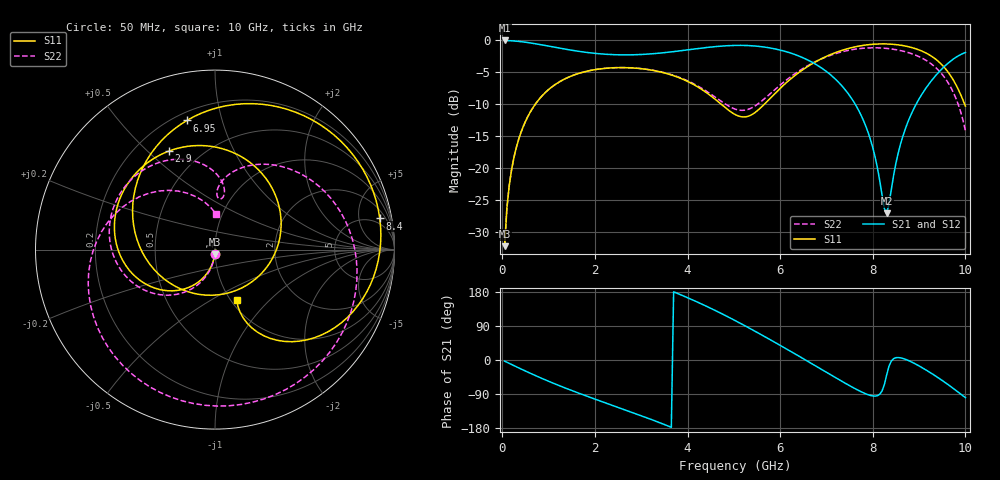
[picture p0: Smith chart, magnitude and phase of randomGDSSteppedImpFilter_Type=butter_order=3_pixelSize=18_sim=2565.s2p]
! freq	dB(S11)	phase(S11)	dB(S12)	phase(S12)
!  dB(S21)	phase(S21)	dB(S22)	phase(S22)
!S-par simulation data
#  GHz  S  DB  R 50
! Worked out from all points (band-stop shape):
!   200 points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, 50 MHz to 10 GHz, reference 50 ohm
!   highest |S21| = -0.01 dB at 50 MHz (marker M1); lowest = -27.0 dB at 8.3 GHz (marker M2)
!   |S21| within 3 dB of the highest: start of sweep to 6.581 GHz; 9.723 GHz to end of sweep
!   lowest |S11| = -32.2 dB at 50 MHz (marker M3), VSWR 1.05, Z = 49.8 - j2.45 ohm
!   |S11| at or under -10 dB: start of sweep to 710.4 MHz; 4.73 GHz to 5.655 GHz (924.8 MHz wide, 17.8 % of centre); 9.985513 GHz to end of sweep
!   |S22| runs from -32.2 to -1.2 dB; largest |S21 - S12| = 0
!   S11 on the Smith chart (normalised r, x): 50 MHz: 1.00, -0.05; 2.9 GHz: 0.34, +0.58; 6.95 GHz: 0.25, +0.78; 8.4 GHz: 3, +9; 10 GHz: 1.06, -0.66
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0.05  -32.16 -93.2  -0.01 -3.0  -0.01 -3.0  -32.16 -92.9
0.2  -20.23 -102.9  -0.06 -11.9  -0.06 -11.9  -20.23 -101.6
0.5  -12.66 -121.3  -0.28 -29.2  -0.28 -29.2  -12.66 -118.0
1.1  -7.11 -155.5  -1.02 -61.2  -1.02 -61.2  -7.10 -148.1
1.75  -4.95 171.2  -1.81 -92.0  -1.81 -92.0  -4.95 -176.3
2.9  -4.35 115.0  -2.23 -142.5  -2.23 -142.5  -4.33 139.3
3.4  -4.90 88.4  -1.99 -165.5  -1.99 -165.5  -4.87 120.5
4.25  -7.40 32.6  -1.25 150.8  -1.25 150.8  -7.24 90.6
5.05  -11.67 -54.4  -0.78 102.7  -0.78 102.7  -10.79 82.3
5.5  -11.04 -124.0  -0.90 73.0  -0.90 73.0  -10.03 88.1
6  -7.49 177.2  -1.51 38.7  -1.51 38.7  -6.98 76.6
6.7  -3.61 119.9  -3.45 -10.9  -3.45 -10.9  -3.54 34.8
6.95  -2.66 102.3  -4.59 -28.9  -4.59 -28.9  -2.71 16.1
7.55  -1.12 62.6  -9.16 -71.2  -9.16 -71.2  -1.45 -33.1
7.95  -0.64 37.7  -15.51 -93.5  -15.51 -93.5  -1.16 -67.5
8.3  -0.56 16.6  -26.99 -39.5  -26.99 -39.5  -1.25 -97.9
8.35  -0.57 13.6  -25.58 -16.4  -25.58 -16.4  -1.29 -102.3
8.4  -0.59 10.7  -23.29 -2.9  -23.29 -2.9  -1.33 -106.7
8.65  -0.81 -3.9  -14.96 4.2  -14.96 4.2  -1.67 -128.6
9.1  -1.79 -30.1  -7.97 -22.7  -7.97 -22.7  -2.91 -169.6
9.6  -4.70 -58.2  -3.72 -62.7  -3.72 -62.7  -6.31 139.4
10  -10.26 -66.8  -1.89 -99.4  -1.89 -99.4  -14.08 88.0
